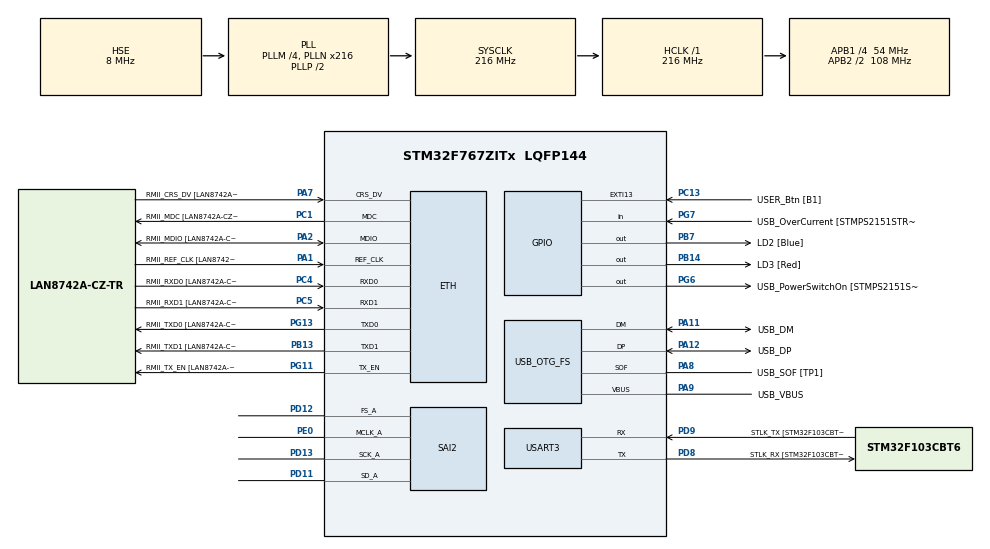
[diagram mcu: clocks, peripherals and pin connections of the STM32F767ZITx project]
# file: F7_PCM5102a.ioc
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CORTEX_M7.CPU_ICache=Disabled
Dma.Request0=SAI2_A
Dma.SAI2_A.0.Direction=DMA_MEMORY_TO_PERIPH
Dma.SAI2_A.0.FIFOMode=DMA_FIFOMODE_ENABLE
Dma.SAI2_A.0.FIFOThreshold=DMA_FIFO_THRESHOLD_HALFFULL
Dma.SAI2_A.0.Instance=DMA2_Stream2
Dma.SAI2_A.0.MemBurst=DMA_MBURST_SINGLE
Dma.SAI2_A.0.MemDataAlignment=DMA_MDATAALIGN_WORD
Dma.SAI2_A.0.MemInc=DMA_MINC_ENABLE
Dma.SAI2_A.0.Mode=DMA_CIRCULAR
Dma.SAI2_A.0.PeriphBurst=DMA_PBURST_SINGLE
Dma.SAI2_A.0.PeriphDataAlignment=DMA_PDATAALIGN_WORD
Dma.SAI2_A.0.PeriphInc=DMA_PINC_DISABLE
Dma.SAI2_A.0.Priority=DMA_PRIORITY_VERY_HIGH
ETH.MediaInterface=ETH_MEDIA_INTERFACE_RMII
ETH.PHY_Name=LAN8742A_PHY_ADDRESS
ETH.PHY_Value=0
ETH.PhyAddress=0
Mcu.Family=STM32F7
Mcu.Name=STM32F767ZITx
Mcu.Package=LQFP144
NVIC.DMA2_Stream2_IRQn=true\:0\:0\:false\:false\:true\:false\:true
NVIC.PriorityGroup=NVIC_PRIORITYGROUP_4
NVIC.SAI2_IRQn=true\:0\:0\:false\:false\:true\:true\:true
PA1.GPIO_Label=RMII_REF_CLK [LAN8742A-CZ-TR_REFCLK0]
PA1.Mode=RMII
PA1.Signal=ETH_REF_CLK
PA10.GPIO_Label=USB_ID
PA10.Signal=USB_OTG_FS_ID
PA11.GPIO_Label=USB_DM
PA11.Mode=Device_Only
PA11.Signal=USB_OTG_FS_DM
PA12.GPIO_Label=USB_DP
PA12.Mode=Device_Only
PA12.Signal=USB_OTG_FS_DP
PA13.GPIO_Label=TMS
PA13.Mode=Serial_Wire
PA13.Signal=SYS_JTMS-SWDIO
PA14.GPIO_Label=TCK
PA14.Mode=Serial_Wire
PA14.Signal=SYS_JTCK-SWCLK
PA2.GPIO_Label=RMII_MDIO [LAN8742A-CZ-TR_MDIO]
PA2.Mode=RMII
PA2.Signal=ETH_MDIO
PA7.GPIO_Label=RMII_CRS_DV [LAN8742A-CZ-TR_CRS_DV]
PA7.Mode=RMII
PA7.Signal=ETH_CRS_DV
PA8.GPIO_Label=USB_SOF [TP1]
PA8.Mode=Activate_SOF_FS
PA8.Signal=USB_OTG_FS_SOF
PA9.GPIO_Label=USB_VBUS
PA9.Mode=Activate_VBUS
PA9.Signal=USB_OTG_FS_VBUS
PB13.GPIO_Label=RMII_TXD1 [LAN8742A-CZ-TR_TXD1]
PB13.Mode=RMII
PB13.Signal=ETH_TXD1
PB14.GPIO_Label=LD3 [Red]
PB14.Signal=GPIO_Output
PB3.GPIO_Label=SWO
PB3.Signal=SYS_JTDO-SWO
PB7.GPIO_Label=LD2 [Blue]
PB7.Signal=GPIO_Output
PC1.GPIO_Label=RMII_MDC [LAN8742A-CZ-TR_MDC]
PC1.Mode=RMII
PC1.Signal=ETH_MDC
PC13.GPIO_Label=USER_Btn [B1]
PC13.Signal=GPXTI13
PC14/OSC32_IN.Mode=LSE-External-Oscillator
PC14/OSC32_IN.Signal=RCC_OSC32_IN
PC15/OSC32_OUT.Mode=LSE-External-Oscillator
PC15/OSC32_OUT.Signal=RCC_OSC32_OUT
PC4.GPIO_Label=RMII_RXD0 [LAN8742A-CZ-TR_RXD0]
PC4.Mode=RMII
PC4.Signal=ETH_RXD0
PC5.GPIO_Label=RMII_RXD1 [LAN8742A-CZ-TR_RXD1]
PC5.Mode=RMII
PC5.Signal=ETH_RXD1
PD11.GPIO_Speed=GPIO_SPEED_FREQ_VERY_HIGH
PD11.Mode=SAI_A_MasterWithClock
PD11.Signal=SAI2_SD_A
PD12.GPIO_Speed=GPIO_SPEED_FREQ_VERY_HIGH
PD12.Mode=SAI_A_MasterWithClock
PD12.Signal=SAI2_FS_A
PD13.GPIO_Speed=GPIO_SPEED_FREQ_VERY_HIGH
PD13.Mode=SAI_A_MasterWithClock
PD13.Signal=SAI2_SCK_A
PD8.GPIO_Label=STLK_RX [STM32F103CBT6_PA3]
PD8.Mode=Asynchronous
PD8.Signal=USART3_TX
PD9.GPIO_Label=STLK_TX [STM32F103CBT6_PA2]
PD9.Mode=Asynchronous
PD9.Signal=USART3_RX
PE0.GPIO_Speed=GPIO_SPEED_FREQ_VERY_HIGH
PE0.Mode=SAI_A_MasterWithClock
PE0.Signal=SAI2_MCLK_A
PG11.GPIO_Label=RMII_TX_EN [LAN8742A-CZ-TR_TXEN]
PG11.Mode=RMII
PG11.Signal=ETH_TX_EN
PG13.GPIO_Label=RMII_TXD0 [LAN8742A-CZ-TR_TXD0]
PG13.Mode=RMII
PG13.Signal=ETH_TXD0
PG6.GPIO_Label=USB_PowerSwitchOn [STMPS2151STR_EN]
PG6.Signal=GPIO_Output
PG7.GPIO_Label=USB_OverCurrent [STMPS2151STR_FAULT]
PG7.Signal=GPIO_Input
PH0/OSC_IN.GPIO_Label=MCO [STM32F103CBT6_PA8]
PH0/OSC_IN.Mode=HSE-External-Clock-Source
PH0/OSC_IN.Signal=RCC_OSC_IN
PH1/OSC_OUT.Mode=HSE-External-Clock-Source
PH1/OSC_OUT.Signal=RCC_OSC_OUT
ProjectManager.HeapSize=0x200
ProjectManager.StackSize=0x400
ProjectManager.TargetToolchain=SW4STM32
RCC.48MHZClocksFreq_Value=24000000
RCC.AHBFreq_Value=216000000
RCC.APB1CLKDivider=RCC_HCLK_DIV4
RCC.APB1Freq_Value=54000000
RCC.APB1TimFreq_Value=108000000
RCC.APB2CLKDivider=RCC_HCLK_DIV2
RCC.APB2Freq_Value=108000000
RCC.APB2TimFreq_Value=216000000
RCC.CortexFreq_Value=216000000
RCC.HCLKFreq_Value=216000000
RCC.HSE_VALUE=8000000
RCC.HSI_VALUE=16000000
RCC.PLLI2SN=96
RCC.PLLM=4
RCC.PLLMUL=RCC_PLL_MUL9
RCC.PLLN=216
RCC.PLLQ=9
RCC.PLLSAIQ=6
RCC.PRESCALERUSB=RCC_USBCLKSOURCE_PLL_DIV1_5
RCC.SAI2CLockSelection=RCC_SAI2CLKSOURCE_PLLI2S
RCC.SYSCLKFreq_VALUE=216000000
RCC.SYSCLKSource=RCC_SYSCLKSOURCE_PLLCLK
RCC.SYSCLKSourceVirtual=RCC_SYSCLKSOURCE_PLLCLK
RCC.USBFreq_Value=48000000
RCC.VCOOutputFreq_Value=432000000
SAI2.ActiveFrameLength-SAI_A_MasterWithClock=16
SAI2.AudioFrequency-SAI_A_MasterWithClock=SAI_AUDIO_FREQUENCY_48K
SAI2.ClockStrobing-SAI_A_MasterWithClock=SAI_CLOCKSTROBING_FALLINGEDGE
SAI2.DataSize-SAI_A_MasterWithClock=SAI_DATASIZE_16
SAI2.ErrorAudioFreq-SAI_A_MasterWithClock=-2.34 %
SAI2.FIFOThreshold-SAI_A_MasterWithClock=SAI_FIFOTHRESHOLD_FULL
SAI2.FSDefinition-SAI_A_MasterWithClock=SAI_FS_STARTFRAME
SAI2.FirstBit-SAI_A_MasterWithClock=SAI_FIRSTBIT_MSB
SAI2.FrameLength-SAI_A_MasterWithClock=32
SAI2.Instance-SAI_A_MasterWithClock=SAI$Index_Block_A
SAI2.MClockEnable-SAI_A_MasterWithClock=SAI_MASTERCLOCK_ENABLE
SAI2.OutputDrive-SAI_A_MasterWithClock=SAI_OUTPUTDRIVE_ENABLE
SAI2.RealAudioFreq-SAI_A_MasterWithClock=46.875 KHz
SAI2.SlotActive-SAI_A_MasterWithClock=0x0000FFFF
SAI2.SlotNumber-SAI_A_MasterWithClock=2
SAI2.SlotSize-SAI_A_MasterWithClock=SAI_SLOTSIZE_DATASIZE
SAI2.TriState-SAI_A_MasterWithClock=SAI_OUTPUT_RELEASED
SAI2.VirtualMode-SAI_A_MasterWithClock=VM_MASTER
SAI2.VirtualSlotActive-SAI_A_MasterWithClock=SAI_SLOTACTIVE_ALL
USART3.VirtualMode-Asynchronous=VM_ASYNC
USB_OTG_FS.VirtualMode=Device_Only
board=NUCLEO-F767ZI

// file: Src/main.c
/* USER CODE BEGIN Header */
/**
 ******************************************************************************
 * @file           : main.c
 * @brief          : Main program body
 ******************************************************************************
 * @attention
 *
 * <h2><center>&copy; Copyright (c) 2019 STMicroelectronics.
 * All rights reserved.</center></h2>
 *
 * This software component is licensed by ST under BSD 3-Clause license,
 * the "License"; You may not use this file except in compliance with the
 * License. You may obtain a copy of the License at:
 *                        opensource.org/licenses/BSD-3-Clause
 *
 ******************************************************************************
 */
/* USER CODE END Header */

#include "main.h"

/* USER CODE BEGIN Includes */
#include "math.h"
#include "arm_math.h"
/* USER CODE END Includes */

/* USER CODE BEGIN PD */
#define BUFF 2048
/* USER CODE END PD */

ETH_HandleTypeDef heth;

SAI_HandleTypeDef hsai_BlockA2;
DMA_HandleTypeDef hdma_sai2_a;

UART_HandleTypeDef huart3;

PCD_HandleTypeDef hpcd_USB_OTG_FS;

/* USER CODE BEGIN PV */
const double pi = acos(-1.0);
const uint64_t srate = 46875.0;
int32_t audio_buff[BUFF];
static uint64_t	x = 0;
static uint64_t freq1 = 5000.0;
static uint64_t freq2 = 10000.0;
double amp1 = 16000.0;
double amp2 = 8000.0;
double step_div;
uint16_t Buff_sin;
/* USER CODE END PV */

void SystemClock_Config(void);
static void MX_GPIO_Init(void);
static void MX_DMA_Init(void);
static void MX_ETH_Init(void);
static void MX_USART3_UART_Init(void);
static void MX_USB_OTG_FS_PCD_Init(void);
static void MX_SAI2_Init(void);
/* USER CODE BEGIN PFP */

int freq_gen(SAI_HandleTypeDef *psai, double amp, uint16_t freq, uint16_t phase) {
	HAL_SAI_DeInit(psai);
	HAL_SAI_Init(psai);
	static uint16_t i;
	static double phase_r;
	phase_r = (phase * pi) / 180.0;
	Buff_sin = srate / freq;
	step_div = Buff_sin / pi;
	Buff_sin *= 2;
	i = 0;
	while (i < Buff_sin) {
		audio_buff[i] = amp * sin(i / step_div);
		audio_buff[i + 1] = amp * sin((i / step_div) + phase_r);
		i += 2;
	}
	return HAL_SAI_Transmit_DMA(psai, (uint8_t*) audio_buff, Buff_sin);
}

static void freq_gen2(uint8_t part) {
	static uint16_t i;
	static uint16_t max;
	static uint64_t mult2;
	if (part)
	{
		i = 0;
		max = BUFF / 2;
	} else {
		i = BUFF / 2;
		max = BUFF;
	}

	mult2 = (freq2 * 2 * pi) / srate;

	while (i < max) {
		//audio_buff[i * 2] = amp1 * sin((x * freq1 * 2 * pi) / srate);
		//audio_buff[i * 2 + 1] = amp2 * sin((x * freq2 * 2 * pi) / srate);
		//audio_buff[i * 2] = amp1 * arm_sin_f32((((x%srate) * freq1 * 2 * pi) / srate));
		//audio_buff[i * 2 + 1] = amp2 * arm_sin_f32((x * freq2 * 2 * pi) / srate);
		audio_buff[i * 2 + 1] = amp2 * arm_sin_f32(x * mult2);
		//audio_buff[i * 2] = i*100;
		//audio_buff[i * 2 + 1] = i*100;
		i++;
		x++;
	}
}

/* USER CODE END PFP */

/* USER CODE BEGIN 0 */
void HAL_SAI_TxCpltCallback(SAI_HandleTypeDef *hsai) {
	//HAL_GPIO_WritePin(LD2_GPIO_Port, LD2_Pin, 1);
	freq_gen2(0);
	//HAL_GPIO_WritePin(LD2_GPIO_Port, LD2_Pin, 0);
	//HAL_GPIO_TogglePin(LD2_GPIO_Port, LD2_Pin);
}

void HAL_SAI_TxHalfCpltCallback(SAI_HandleTypeDef *hsai) {
	//HAL_GPIO_WritePin(LD3_GPIO_Port, LD3_Pin, 1);
	freq_gen2(1);
	//HAL_GPIO_WritePin(LD3_GPIO_Port, LD3_Pin, 0);
	//HAL_GPIO_TogglePin(LD3_GPIO_Port, LD3_Pin);
}
/* USER CODE END 0 */

int main(void)
{

  /* MCU Configuration--------------------------------------------------------*/

  /* Reset of all peripherals, Initializes the Flash interface and the Systick. */
  HAL_Init();

  /* Configure the system clock */
  SystemClock_Config();

  /* Initialize all configured peripherals */
  MX_GPIO_Init();
  MX_DMA_Init();
  MX_ETH_Init();
  MX_USART3_UART_Init();
  MX_USB_OTG_FS_PCD_Init();
  MX_SAI2_Init();
  /* USER CODE BEGIN 2 */
	//freq_gen(&hsai_BlockA2, 16000.0, 50, 180);
	HAL_SAI_Transmit_DMA(&hsai_BlockA2, (uint8_t*) audio_buff, BUFF);
  /* USER CODE END 2 */

  /* Infinite loop */
  /* USER CODE BEGIN WHILE */
	while (1) {
		//freq_gen(&hsai_BlockA2, 16000.0, 50, 180);
		//HAL_Delay(100);
		//freq_gen(&hsai_BlockA2, 16000.0, 10000, 90);

		HAL_Delay(5000);
    /* USER CODE END WHILE */

	}
}

void SystemClock_Config(void)
{
  RCC_OscInitTypeDef RCC_OscInitStruct = {0};
  RCC_ClkInitTypeDef RCC_ClkInitStruct = {0};
  RCC_PeriphCLKInitTypeDef PeriphClkInitStruct = {0};

  /** Configure LSE Drive Capability
  */
  HAL_PWR_EnableBkUpAccess();
  /** Configure the main internal regulator output voltage
  */
  __HAL_RCC_PWR_CLK_ENABLE();
  __HAL_PWR_VOLTAGESCALING_CONFIG(PWR_REGULATOR_VOLTAGE_SCALE1);
  /** Initializes the CPU, AHB and APB busses clocks
  */
  RCC_OscInitStruct.OscillatorType = RCC_OSCILLATORTYPE_HSE;
  RCC_OscInitStruct.HSEState = RCC_HSE_BYPASS;
  RCC_OscInitStruct.PLL.PLLState = RCC_PLL_ON;
  RCC_OscInitStruct.PLL.PLLSource = RCC_PLLSOURCE_HSE;
  RCC_OscInitStruct.PLL.PLLM = 4;
  RCC_OscInitStruct.PLL.PLLN = 216;
  RCC_OscInitStruct.PLL.PLLP = RCC_PLLP_DIV2;
  RCC_OscInitStruct.PLL.PLLQ = 9;
  if (HAL_RCC_OscConfig(&RCC_OscInitStruct) != HAL_OK)
  {
    Error_Handler();
  }
  /** Activate the Over-Drive mode
  */
  if (HAL_PWREx_EnableOverDrive() != HAL_OK)
  {
    Error_Handler();
  }
  /** Initializes the CPU, AHB and APB busses clocks
  */
  RCC_ClkInitStruct.ClockType = RCC_CLOCKTYPE_HCLK|RCC_CLOCKTYPE_SYSCLK
                              |RCC_CLOCKTYPE_PCLK1|RCC_CLOCKTYPE_PCLK2;
  RCC_ClkInitStruct.SYSCLKSource = RCC_SYSCLKSOURCE_PLLCLK;
  RCC_ClkInitStruct.AHBCLKDivider = RCC_SYSCLK_DIV1;
  RCC_ClkInitStruct.APB1CLKDivider = RCC_HCLK_DIV4;
  RCC_ClkInitStruct.APB2CLKDivider = RCC_HCLK_DIV2;

  if (HAL_RCC_ClockConfig(&RCC_ClkInitStruct, FLASH_LATENCY_7) != HAL_OK)
  {
    Error_Handler();
  }
  PeriphClkInitStruct.PeriphClockSelection = RCC_PERIPHCLK_USART3|RCC_PERIPHCLK_SAI2
                              |RCC_PERIPHCLK_CLK48;
  PeriphClkInitStruct.PLLI2S.PLLI2SN = 96;
  PeriphClkInitStruct.PLLI2S.PLLI2SP = RCC_PLLP_DIV2;
  PeriphClkInitStruct.PLLI2S.PLLI2SR = 2;
  PeriphClkInitStruct.PLLI2S.PLLI2SQ = 2;
  PeriphClkInitStruct.PLLI2SDivQ = 1;
  PeriphClkInitStruct.Sai2ClockSelection = RCC_SAI2CLKSOURCE_PLLI2S;
  PeriphClkInitStruct.Usart3ClockSelection = RCC_USART3CLKSOURCE_PCLK1;
  PeriphClkInitStruct.Clk48ClockSelection = RCC_CLK48SOURCE_PLL;
  if (HAL_RCCEx_PeriphCLKConfig(&PeriphClkInitStruct) != HAL_OK)
  {
    Error_Handler();
  }
}

static void MX_ETH_Init(void)
{

   uint8_t MACAddr[6] ;

  heth.Instance = ETH;
  heth.Init.AutoNegotiation = ETH_AUTONEGOTIATION_ENABLE;
  heth.Init.PhyAddress = LAN8742A_PHY_ADDRESS;
  MACAddr[0] = 0x00;
  MACAddr[1] = 0x80;
  MACAddr[2] = 0xE1;
  MACAddr[3] = 0x00;
  MACAddr[4] = 0x00;
  MACAddr[5] = 0x00;
  heth.Init.MACAddr = &MACAddr[0];
  heth.Init.RxMode = ETH_RXPOLLING_MODE;
  heth.Init.ChecksumMode = ETH_CHECKSUM_BY_HARDWARE;
  heth.Init.MediaInterface = ETH_MEDIA_INTERFACE_RMII;

  if (HAL_ETH_Init(&heth) != HAL_OK)
  {
    Error_Handler();
  }

}

static void MX_SAI2_Init(void)
{

  hsai_BlockA2.Instance = SAI2_Block_A;
  hsai_BlockA2.Init.Protocol = SAI_FREE_PROTOCOL;
  hsai_BlockA2.Init.AudioMode = SAI_MODEMASTER_TX;
  hsai_BlockA2.Init.DataSize = SAI_DATASIZE_16;
  hsai_BlockA2.Init.FirstBit = SAI_FIRSTBIT_MSB;
  hsai_BlockA2.Init.ClockStrobing = SAI_CLOCKSTROBING_FALLINGEDGE;
  hsai_BlockA2.Init.Synchro = SAI_ASYNCHRONOUS;
  hsai_BlockA2.Init.OutputDrive = SAI_OUTPUTDRIVE_ENABLE;
  hsai_BlockA2.Init.NoDivider = SAI_MASTERDIVIDER_ENABLE;
  hsai_BlockA2.Init.FIFOThreshold = SAI_FIFOTHRESHOLD_FULL;
  hsai_BlockA2.Init.AudioFrequency = SAI_AUDIO_FREQUENCY_48K;
  hsai_BlockA2.Init.SynchroExt = SAI_SYNCEXT_DISABLE;
  hsai_BlockA2.Init.MonoStereoMode = SAI_STEREOMODE;
  hsai_BlockA2.Init.CompandingMode = SAI_NOCOMPANDING;
  hsai_BlockA2.Init.TriState = SAI_OUTPUT_RELEASED;
  hsai_BlockA2.FrameInit.FrameLength = 32;
  hsai_BlockA2.FrameInit.ActiveFrameLength = 16;
  hsai_BlockA2.FrameInit.FSDefinition = SAI_FS_STARTFRAME;
  hsai_BlockA2.FrameInit.FSPolarity = SAI_FS_ACTIVE_LOW;
  hsai_BlockA2.FrameInit.FSOffset = SAI_FS_FIRSTBIT;
  hsai_BlockA2.SlotInit.FirstBitOffset = 0;
  hsai_BlockA2.SlotInit.SlotSize = SAI_SLOTSIZE_DATASIZE;
  hsai_BlockA2.SlotInit.SlotNumber = 2;
  hsai_BlockA2.SlotInit.SlotActive = 0x0000FFFF;
  if (HAL_SAI_Init(&hsai_BlockA2) != HAL_OK)
  {
    Error_Handler();
  }

}

static void MX_USART3_UART_Init(void)
{

  huart3.Instance = USART3;
  huart3.Init.BaudRate = 115200;
  huart3.Init.WordLength = UART_WORDLENGTH_8B;
  huart3.Init.StopBits = UART_STOPBITS_1;
  huart3.Init.Parity = UART_PARITY_NONE;
  huart3.Init.Mode = UART_MODE_TX_RX;
  huart3.Init.HwFlowCtl = UART_HWCONTROL_NONE;
  huart3.Init.OverSampling = UART_OVERSAMPLING_16;
  huart3.Init.OneBitSampling = UART_ONE_BIT_SAMPLE_DISABLE;
  huart3.AdvancedInit.AdvFeatureInit = UART_ADVFEATURE_NO_INIT;
  if (HAL_UART_Init(&huart3) != HAL_OK)
  {
    Error_Handler();
  }

}

static void MX_USB_OTG_FS_PCD_Init(void)
{

  hpcd_USB_OTG_FS.Instance = USB_OTG_FS;
  hpcd_USB_OTG_FS.Init.dev_endpoints = 6;
  hpcd_USB_OTG_FS.Init.speed = PCD_SPEED_FULL;
  hpcd_USB_OTG_FS.Init.dma_enable = DISABLE;
  hpcd_USB_OTG_FS.Init.phy_itface = PCD_PHY_EMBEDDED;
  hpcd_USB_OTG_FS.Init.Sof_enable = ENABLE;
  hpcd_USB_OTG_FS.Init.low_power_enable = DISABLE;
  hpcd_USB_OTG_FS.Init.lpm_enable = DISABLE;
  hpcd_USB_OTG_FS.Init.vbus_sensing_enable = ENABLE;
  hpcd_USB_OTG_FS.Init.use_dedicated_ep1 = DISABLE;
  if (HAL_PCD_Init(&hpcd_USB_OTG_FS) != HAL_OK)
  {
    Error_Handler();
  }

}

static void MX_DMA_Init(void)
{
  /* DMA controller clock enable */
  __HAL_RCC_DMA2_CLK_ENABLE();

  /* DMA interrupt init */
  /* DMA2_Stream2_IRQn interrupt configuration */
  HAL_NVIC_SetPriority(DMA2_Stream2_IRQn, 0, 0);
  HAL_NVIC_EnableIRQ(DMA2_Stream2_IRQn);

}

static void MX_GPIO_Init(void)
{
  GPIO_InitTypeDef GPIO_InitStruct = {0};

  /* GPIO Ports Clock Enable */
  __HAL_RCC_GPIOC_CLK_ENABLE();
  __HAL_RCC_GPIOH_CLK_ENABLE();
  __HAL_RCC_GPIOA_CLK_ENABLE();
  __HAL_RCC_GPIOB_CLK_ENABLE();
  __HAL_RCC_GPIOD_CLK_ENABLE();
  __HAL_RCC_GPIOG_CLK_ENABLE();
  __HAL_RCC_GPIOE_CLK_ENABLE();

  /*Configure GPIO pin Output Level */
  HAL_GPIO_WritePin(GPIOB, LD3_Pin|LD2_Pin, GPIO_PIN_RESET);

  /*Configure GPIO pin Output Level */
  HAL_GPIO_WritePin(USB_PowerSwitchOn_GPIO_Port, USB_PowerSwitchOn_Pin, GPIO_PIN_RESET);

  /*Configure GPIO pin : USER_Btn_Pin */
  GPIO_InitStruct.Pin = USER_Btn_Pin;
  GPIO_InitStruct.Mode = GPIO_MODE_IT_RISING;
  GPIO_InitStruct.Pull = GPIO_NOPULL;
  HAL_GPIO_Init(USER_Btn_GPIO_Port, &GPIO_InitStruct);

  /*Configure GPIO pins : LD3_Pin LD2_Pin */
  GPIO_InitStruct.Pin = LD3_Pin|LD2_Pin;
  GPIO_InitStruct.Mode = GPIO_MODE_OUTPUT_PP;
  GPIO_InitStruct.Pull = GPIO_NOPULL;
  GPIO_InitStruct.Speed = GPIO_SPEED_FREQ_LOW;
  HAL_GPIO_Init(GPIOB, &GPIO_InitStruct);

  /*Configure GPIO pin : USB_PowerSwitchOn_Pin */
  GPIO_InitStruct.Pin = USB_PowerSwitchOn_Pin;
  GPIO_InitStruct.Mode = GPIO_MODE_OUTPUT_PP;
  GPIO_InitStruct.Pull = GPIO_NOPULL;
  GPIO_InitStruct.Speed = GPIO_SPEED_FREQ_LOW;
  HAL_GPIO_Init(USB_PowerSwitchOn_GPIO_Port, &GPIO_InitStruct);

  /*Configure GPIO pin : USB_OverCurrent_Pin */
  GPIO_InitStruct.Pin = USB_OverCurrent_Pin;
  GPIO_InitStruct.Mode = GPIO_MODE_INPUT;
  GPIO_InitStruct.Pull = GPIO_NOPULL;
  HAL_GPIO_Init(USB_OverCurrent_GPIO_Port, &GPIO_InitStruct);

}

void Error_Handler(void)
{
}

/************************ (C) COPYRIGHT STMicroelectronics *****END OF FILE****/
